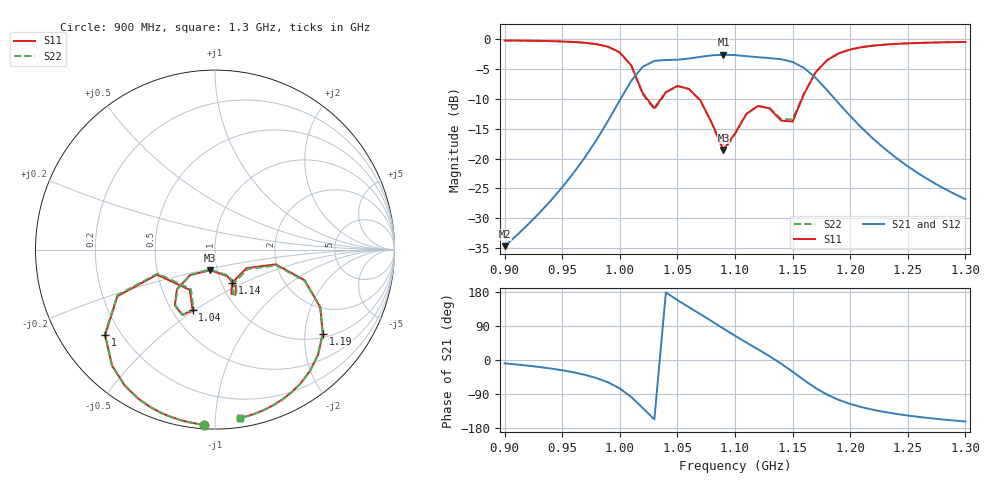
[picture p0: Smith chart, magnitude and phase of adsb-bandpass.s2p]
! EMCraft S-parameters
! the adsb-bandpass template, solved by solve.frequency from 0.9 to 1.3 GHz in 41 points (order 2)
! ports: 1, 2
# GHz S RI R 50
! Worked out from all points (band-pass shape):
!   41 points, 900 MHz to 1.3 GHz, reference 50 ohm
!   highest |S21| = -2.59 dB at 1.09 GHz (marker M1); lowest = -34.7 dB at 900 MHz (marker M2)
!   |S21| within 3 dB of the highest: 1.016 GHz to 1.165 GHz (148.9 MHz wide, 13.7 % of centre)
!   lowest |S11| = -18.5 dB at 1.09 GHz (marker M3), VSWR 1.27, Z = 46.1 - j10.7 ohm
!   |S11| at or under -10 dB: 1.024 GHz to 1.036 GHz (11.99 MHz wide, 1.16 % of centre); 1.069 GHz to 1.158 GHz (89.51 MHz wide, 8.04 % of centre)
!   |S22| runs from -18.8 to -0.2 dB; largest |S21 - S12| = 7.3e-13
!   S11 on the Smith chart (normalised r, x): 900 MHz: 0.02, -0.94; 1 GHz: 0.14, -0.34; 1.04 GHz: 0.63, -0.49; 1.14 GHz: 1.12, -0.43; 1.19 GHz: 1.11, -2.47; 1.3 GHz: 0.06, -1.16
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0.9  -0.0632 -0.9752  0.0182 -0.00285  0.0182 -0.00285  -0.0623 -0.9752
0.97  -0.4269 -0.8311  0.08 -0.0655  0.08 -0.0655  -0.4277 -0.8302
0.99  -0.5731 -0.6473  0.1066 -0.1792  0.1066 -0.1792  -0.5746 -0.6446
1  -0.6123 -0.4764  0.079 -0.2979  0.079 -0.2979  -0.6136 -0.472
1.01  -0.5439 -0.2598  -0.0606 -0.4451  -0.0606 -0.4451  -0.5434 -0.2536
1.02  -0.3229 -0.1399  -0.3547 -0.4717  -0.3547 -0.4717  -0.319 -0.1335
1.03  -0.1403 -0.2247  -0.605 -0.2611  -0.605 -0.2611  -0.1342 -0.221
1.04  -0.1252 -0.338  -0.6699 0.0175  -0.6699 0.0175  -0.1195 -0.3369
1.05  -0.1817 -0.3635  -0.6248 0.253  -0.6248 0.253  -0.1775 -0.3638
1.07  -0.2125 -0.2216  -0.3657 0.6113  -0.3657 0.6113  -0.2109 -0.2212
1.09  -0.028 -0.1149  0.0933 0.7364  0.0933 0.7364  -0.026 -0.1119
1.1  0.0683 -0.1476  0.3238 0.6612  0.3238 0.6612  0.0719 -0.1438
1.11  0.1157 -0.2075  0.5037 0.5169  0.5037 0.5169  0.121 -0.204
1.12  0.1142 -0.2511  0.6242 0.3322  0.6242 0.3322  0.1211 -0.2486
1.14  0.0947 -0.1857  0.6712 -0.1129  0.6712 -0.1129  0.103 -0.1877
1.15  0.1762 -0.1031  0.5537 -0.332  0.5537 -0.332  0.1832 -0.1076
1.16  0.3388 -0.0822  0.3434 -0.4603  0.3434 -0.4603  0.3432 -0.0881
1.17  0.4997 -0.1709  0.1301 -0.4565  0.1301 -0.4565  0.5016 -0.1764
1.19  0.6007 -0.4677  -0.0764 -0.2805  -0.0764 -0.2805  0.6004 -0.4706
1.21  0.5289 -0.6765  -0.1026 -0.149  -0.1026 -0.149  0.5287 -0.6776
1.24  0.3785 -0.8329  -0.0801 -0.062  -0.0801 -0.062  0.3792 -0.8329
1.3  0.1386 -0.9388  -0.0435 -0.0139  -0.0435 -0.0139  0.1402 -0.9387
